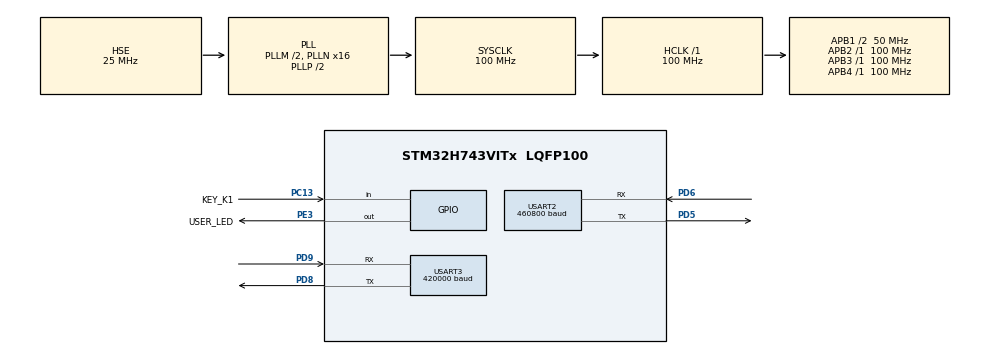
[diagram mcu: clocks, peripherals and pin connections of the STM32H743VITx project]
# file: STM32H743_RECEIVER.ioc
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CORTEX_M7.default_mode_Activation=1
Mcu.Family=STM32H7
Mcu.Name=STM32H743VITx
Mcu.Package=LQFP100
NVIC.PriorityGroup=NVIC_PRIORITYGROUP_4
NVIC.USART3_IRQn=true\:0\:0\:false\:false\:true\:true\:true\:true
PC13.GPIO_Label=KEY_K1
PC13.GPIO_PuPd=GPIO_PULLDOWN
PC13.Signal=GPIO_Input
PD5.Mode=Asynchronous
PD5.Signal=USART2_TX
PD6.Mode=Asynchronous
PD6.Signal=USART2_RX
PD8.Mode=Asynchronous
PD8.Signal=USART3_TX
PD9.GPIO_PuPd=GPIO_NOPULL
PD9.Mode=Asynchronous
PD9.Signal=USART3_RX
PE3.GPIO_Label=USER_LED
PE3.Signal=GPIO_Output
PH0-OSC_IN\ (PH0).Mode=HSE-External-Oscillator
PH0-OSC_IN\ (PH0).Signal=RCC_OSC_IN
PH1-OSC_OUT\ (PH1).Mode=HSE-External-Oscillator
PH1-OSC_OUT\ (PH1).Signal=RCC_OSC_OUT
ProjectManager.HeapSize=0x200
ProjectManager.StackSize=0x400
ProjectManager.TargetToolchain=STM32CubeIDE
RCC.ADCFreq_Value=50390625
RCC.APB1Freq_Value=50000000
RCC.APB2Freq_Value=100000000
RCC.APB3Freq_Value=100000000
RCC.APB4Freq_Value=100000000
RCC.CortexFreq_Value=100000000
RCC.D2PPRE1=RCC_APB1_DIV2
RCC.DIVM1=2
RCC.DIVN1=16
RCC.HCLKFreq_Value=100000000
RCC.PLLFRACN=0
RCC.PLLSourceVirtual=RCC_PLLSOURCE_HSE
RCC.SYSCLKFreq_VALUE=100000000
RCC.SYSCLKSource=RCC_SYSCLKSOURCE_PLLCLK
RCC.USBFreq_Value=100000000
USART2.BaudRate=460800
USART2.VirtualMode-Asynchronous=VM_ASYNC
USART3.BaudRate=420000
USART3.VirtualMode-Asynchronous=VM_ASYNC
VP_MEMORYMAP_VS_MEMORYMAP.Mode=CurAppReg
board=custom

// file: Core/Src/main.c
/* USER CODE BEGIN Header */
/**
  ******************************************************************************
  * @file           : main.c
  * @brief          : Main program body
  ******************************************************************************
  * @attention
  *
  * Copyright (c) 2025 STMicroelectronics.
  * All rights reserved.
  *
  * This software is licensed under terms that can be found in the LICENSE file
  * in the root directory of this software component.
  * If no LICENSE file comes with this software, it is provided AS-IS.
  *
  ******************************************************************************
  */
/* USER CODE END Header */
#include "main.h"
#include "usart.h"
#include "gpio.h"

/* USER CODE BEGIN Includes */
#include "uart_ring.h"  // Ring buffer API: UART_Ring_Init(), UART_Ring_GetByte()
#include "crsf.h"

#include <stdio.h>  // snprintf

/* USER CODE END Includes */

/* USER CODE BEGIN PD */
#define PRINT_LINK_STATUS  1
/* USER CODE END PD */

/* USER CODE BEGIN PV */
volatile uint8_t led_enabled = 0;

static CRSF_Parser_t gCrsf;      // Parser-Instanz

/* USER CODE END PV */

void SystemClock_Config(void);
static void MPU_Config(void);

/* USER CODE BEGIN 0 */
static inline uint32_t app_millis(void) { return HAL_GetTick(); }

// formatiert n Kanäle (µs) aus dem Parser in eine Textzeile "xxxx xxxx ...\r\n"
static int format_channels_us(char *msg, int n, const CRSF_Parser_t* p)      /*-- Änderung --*/
{
    int pos = 0;
    for (int i = 0; i < n; i++) {
        int32_t v = CRSF_TicksToUs(p->rc.ch_ticks[i]);
        // Tausenderstelle
        if (v >= 1000) msg[pos++] = '0' + (v / 1000);
        else           msg[pos++] = ' ';
        // Hunderterstelle
        if (v >= 100)  msg[pos++] = '0' + ((v / 100) % 10);
        else           msg[pos++] = ' ';
        // Zehnerstelle
        if (v >= 10)   msg[pos++] = '0' + ((v / 10) % 10);
        else           msg[pos++] = ' ';
        // Einerstelle
        msg[pos++] = '0' + (v % 10);

        // Trennzeichen (außer nach letztem Kanal)
        if (i < n - 1) msg[pos++] = ' ';
    }
    msg[pos++] = '\r';
    msg[pos++] = '\n';
    msg[pos] = '\0';
    return pos;
}

// ---- H743: Dummy-GPS über CRSF 0x02 zum ELRS-Receiver senden ----
static void H743_SendGpsDummy(UART_HandleTypeDef *huart)
{
	static int32_t lat_val = 487000000; // // 48.7000000° (Startwert)
    CRSF_GPS_t payload;

    // Latitude anpassen (pro Aufruf +1)
    payload.latitude = lat_val++;

    // Restliche Felder statisch lassen
    payload.longitude   =  91000000;  // 9.1000000°
    payload.groundspeed = 3650;       // 36.50 km/h
    payload.heading     = 12345;      // 123.45°
    payload.altitude    = (uint16_t)(450 + 1000); // 450 m MSL -> +1000 Offset => 1450
    payload.satellites  = 17;

    uint8_t frame[32];
    uint16_t flen = CRSF_CreateFrame(frame, 0x02, (const uint8_t*)&payload, sizeof(payload));

    // UART: Full-Duplex, non-inverted, 420000 baud
    HAL_UART_Transmit(huart, frame, flen, 5);
}

/* USER CODE END 0 */

int main(void)
{

  /* USER CODE BEGIN 1 */
	uint8_t b;
	uint32_t last_print_ms = 0;

	uint8_t  ls_seen_flag = 0;
	uint32_t last_ls_print = 0;
	uint32_t last_gps_tx = 0;

	char msg[128];

  /* USER CODE END 1 */

  /* MPU Configuration--------------------------------------------------------*/
  MPU_Config();

  /* MCU Configuration--------------------------------------------------------*/

  /* Reset of all peripherals, Initializes the Flash interface and the Systick. */
  HAL_Init();

  /* Configure the system clock */
  SystemClock_Config();

  /* Initialize all configured peripherals */
  MX_GPIO_Init();
  MX_USART2_UART_Init();
  MX_USART3_UART_Init();
  /* USER CODE BEGIN 2 */
  UART_Ring_Init(&huart3);
  __HAL_UART_ENABLE_IT(&huart3, UART_IT_RXNE);  // RX interrupt aktivieren

  /* Wait until key K1 is pressed (PC13, high active, pull-down) */
  while(!HAL_GPIO_ReadPin(GPIOC, GPIO_PIN_13)) {
	  HAL_Delay(1); // Short delay
  }

  led_enabled = 1;

  /* USER CODE END 2 */

  /* Infinite loop */
  /* USER CODE BEGIN WHILE */

  while (1)
  {
	  // Eingehende Bytes vom Ringbuffer in den Parser füttern
	  while (UART_Ring_GetByte(&b)) {
		  uint8_t ftype;
		  if (CRSF_ParserFeed(&gCrsf, b, &ftype)) {
			  // Link Statistics message
			  if (ftype == CRSF_FRAMETYPE_LINK_STATISTICS) {
				  ls_seen_flag = 1; // Nur Flag setzen, KEIN sofortiger Print
				  //const char msg[] = "Link Statistics packet received\r\n";
				  //HAL_UART_Transmit(&huart2, (uint8_t*)msg, sizeof(msg) - 1, 20);
			  }

			  // optional: auf RC/LinkStats reagieren
			  // if (ftype == CRSF_FRAMETYPE_RC_CHANNELS_PACKED) { ... }
			  // if (ftype == CRSF_FRAMETYPE_LINK_STATISTICS)   { ... }
		  }
	  }

	  // Alle 100 ms: 8 RC-Kanäle in µs ausgeben
	  uint32_t now = HAL_GetTick();
	  if (now - last_print_ms >= 100) {
		  last_print_ms = now;
		  int k = format_channels_us(msg, 8, &gCrsf);
		  HAL_UART_Transmit(&huart2, (uint8_t*)msg, (uint16_t)k, 50);
	  }

	  if (now - last_ls_print >= 1000) {
		  last_ls_print = now;

		  if (ls_seen_flag) {
			  ls_seen_flag = 0; // Flag zuruecksetzen, damit wir nur einmal pro Sekunde drucken

			  // Wir lesen die LQ direkt aus dem Parserzustand:
			  // up_LQ = Uplink Link Quality in %, dn_LQ = Downlink Link Quality in %
			  uint8_t up   = gCrsf.linkStats.up_LQ;
			  uint8_t dn   = gCrsf.linkStats.dn_LQ;
			  uint8_t pidx = gCrsf.linkStats.up_tx_power;

			  // Puffer vorbereiten und snprintf verwenden
			  char line[80];
			  int n = snprintf(line, sizeof(line),
					  "Link Quality: up=%u%%, down=%u%%, up_tx_power(idx)=%u\r\n", up, dn, pidx);

			  if (n > 0) {
				  // Achtung: n kann >= sizeof(line) sein; wir senden max. Puffergroesse-1
				  uint16_t txlen = (n < (int)sizeof(line)) ? (uint16_t)n : (uint16_t)(sizeof(line) - 1);
				  HAL_UART_Transmit(&huart2, (uint8_t*)line, txlen, 20);
			  }

			  //const char txt1[] = "Link Statistics packet received\r\n";
			  //HAL_UART_Transmit(&huart2, (uint8_t*)txt1, sizeof(txt1) - 1, 20);
		  } else {
			  const char txt2[] = "No Link Statistics in last second\r\n";
			  HAL_UART_Transmit(&huart2, (uint8_t*)txt2, sizeof(txt2) - 1, 20);
		  }
	  }

	  if (now - last_gps_tx >= 200U) { // 5 Hz
	      last_gps_tx = now;
	      H743_SendGpsDummy(&huart3);   // huart3 = ELRS-Receiver-UART
	  }

    /* USER CODE END WHILE */

  }
}

void SystemClock_Config(void)
{
  RCC_OscInitTypeDef RCC_OscInitStruct = {0};
  RCC_ClkInitTypeDef RCC_ClkInitStruct = {0};

  /** Supply configuration update enable
  */
  HAL_PWREx_ConfigSupply(PWR_LDO_SUPPLY);

  /** Configure the main internal regulator output voltage
  */
  __HAL_PWR_VOLTAGESCALING_CONFIG(PWR_REGULATOR_VOLTAGE_SCALE3);

  while(!__HAL_PWR_GET_FLAG(PWR_FLAG_VOSRDY)) {}

  /** Initializes the RCC Oscillators according to the specified parameters
  * in the RCC_OscInitTypeDef structure.
  */
  RCC_OscInitStruct.OscillatorType = RCC_OSCILLATORTYPE_HSE;
  RCC_OscInitStruct.HSEState = RCC_HSE_ON;
  RCC_OscInitStruct.PLL.PLLState = RCC_PLL_ON;
  RCC_OscInitStruct.PLL.PLLSource = RCC_PLLSOURCE_HSE;
  RCC_OscInitStruct.PLL.PLLM = 2;
  RCC_OscInitStruct.PLL.PLLN = 16;
  RCC_OscInitStruct.PLL.PLLP = 2;
  RCC_OscInitStruct.PLL.PLLQ = 2;
  RCC_OscInitStruct.PLL.PLLR = 2;
  RCC_OscInitStruct.PLL.PLLRGE = RCC_PLL1VCIRANGE_3;
  RCC_OscInitStruct.PLL.PLLVCOSEL = RCC_PLL1VCOWIDE;
  RCC_OscInitStruct.PLL.PLLFRACN = 0;
  if (HAL_RCC_OscConfig(&RCC_OscInitStruct) != HAL_OK)
  {
    Error_Handler();
  }

  /** Initializes the CPU, AHB and APB buses clocks
  */
  RCC_ClkInitStruct.ClockType = RCC_CLOCKTYPE_HCLK|RCC_CLOCKTYPE_SYSCLK
                              |RCC_CLOCKTYPE_PCLK1|RCC_CLOCKTYPE_PCLK2
                              |RCC_CLOCKTYPE_D3PCLK1|RCC_CLOCKTYPE_D1PCLK1;
  RCC_ClkInitStruct.SYSCLKSource = RCC_SYSCLKSOURCE_PLLCLK;
  RCC_ClkInitStruct.SYSCLKDivider = RCC_SYSCLK_DIV1;
  RCC_ClkInitStruct.AHBCLKDivider = RCC_HCLK_DIV1;
  RCC_ClkInitStruct.APB3CLKDivider = RCC_APB3_DIV1;
  RCC_ClkInitStruct.APB1CLKDivider = RCC_APB1_DIV2;
  RCC_ClkInitStruct.APB2CLKDivider = RCC_APB2_DIV1;
  RCC_ClkInitStruct.APB4CLKDivider = RCC_APB4_DIV1;

  if (HAL_RCC_ClockConfig(&RCC_ClkInitStruct, FLASH_LATENCY_2) != HAL_OK)
  {
    Error_Handler();
  }
}

 /* MPU Configuration */

void MPU_Config(void)
{
  MPU_Region_InitTypeDef MPU_InitStruct = {0};

  /* Disables the MPU */
  HAL_MPU_Disable();

  /** Initializes and configures the Region and the memory to be protected
  */
  MPU_InitStruct.Enable = MPU_REGION_ENABLE;
  MPU_InitStruct.Number = MPU_REGION_NUMBER0;
  MPU_InitStruct.BaseAddress = 0x0;
  MPU_InitStruct.Size = MPU_REGION_SIZE_4GB;
  MPU_InitStruct.SubRegionDisable = 0x87;
  MPU_InitStruct.TypeExtField = MPU_TEX_LEVEL0;
  MPU_InitStruct.AccessPermission = MPU_REGION_NO_ACCESS;
  MPU_InitStruct.DisableExec = MPU_INSTRUCTION_ACCESS_DISABLE;
  MPU_InitStruct.IsShareable = MPU_ACCESS_SHAREABLE;
  MPU_InitStruct.IsCacheable = MPU_ACCESS_NOT_CACHEABLE;
  MPU_InitStruct.IsBufferable = MPU_ACCESS_NOT_BUFFERABLE;

  HAL_MPU_ConfigRegion(&MPU_InitStruct);
  /* Enables the MPU */
  HAL_MPU_Enable(MPU_PRIVILEGED_DEFAULT);

}

void Error_Handler(void)
{
  __disable_irq();
  while (1)
  {
  }
}
